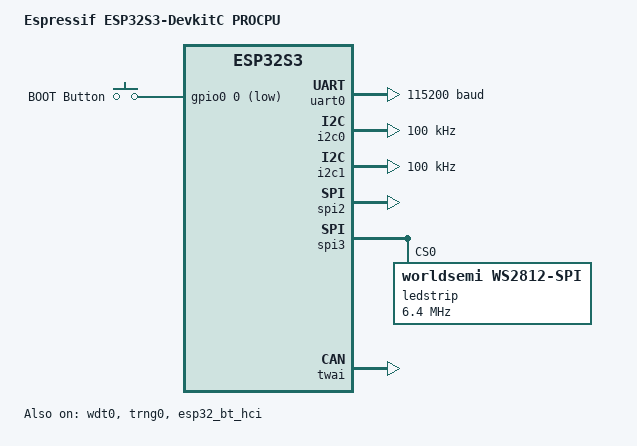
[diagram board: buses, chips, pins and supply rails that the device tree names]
/dts-v1/;

#include <espressif/esp32s3/esp32s3_wroom_n8.dtsi>
#include <zephyr/dt-bindings/input/input-event-codes.h>
#include <zephyr/dt-bindings/input/esp32-touch-sensor-input.h>
#include <espressif/partitions_0x0_amp.dtsi>
#include "esp32s3_can-pinctrl.dtsi"
#include <zephyr/dt-bindings/led/led.h>

/ {
	model = "Espressif ESP32S3-DevkitC PROCPU";
	compatible = "espressif,esp32s3";

	chosen {
		zephyr,sram = &sram1;
		zephyr,console = &uart0;
		zephyr,shell-uart = &uart0;
		zephyr,flash = &flash0;
		zephyr,code-partition = &slot0_partition;
		zephyr,bt-hci = &esp32_bt_hci;
		zephyr,canbus = &twai;
	};

	aliases {
		uart-0 = &uart0;
		sw0 = &button0;
		i2c-0 = &i2c0;
		watchdog0 = &wdt0;
		ledstrip = &ledstrip;
	};

	buttons {
		compatible = "gpio-keys";

		button0: button_0 {
			gpios = <&gpio0 0 (GPIO_PULL_UP | GPIO_ACTIVE_LOW)>;
			label = "BOOT Button";
			zephyr,code = <INPUT_KEY_0>;
		};
	};
};

&usb_serial {
	status = "disabled";
};

&uart0 {
	status = "okay";
	current-speed = <115200>;
	pinctrl-0 = <&uart0_default>;
	pinctrl-names = "default";
};

&gpio0 {
	status = "okay";
};

&gpio1 {
	status = "okay";
};

&touch {
	debounce-interval-ms = <30>;
	href-microvolt = <2700000>;
	lref-microvolt = <500000>;
	href-atten-microvolt = <1000000>;
	filter-mode = <ESP32_TOUCH_FILTER_MODE_IIR_16>;
	filter-debounce-cnt = <1>;
	filter-noise-thr = <ESP32_TOUCH_FILTER_NOISE_THR_4_8TH>;
	filter-jitter-step = <4>;
	filter-smooth-level = <ESP32_TOUCH_FILTER_SMOOTH_MODE_IIR_2>;
};

&i2c0 {
	clock-frequency = <I2C_BITRATE_STANDARD>;
	pinctrl-0 = <&i2c0_default>;
	pinctrl-names = "default";
};

&i2c1 {
	clock-frequency = <I2C_BITRATE_STANDARD>;
	pinctrl-0 = <&i2c1_default>;
	pinctrl-names = "default";
};

&i2s0 {
	pinctrl-0 = <&i2s0_default>;
	pinctrl-names = "default";
	status = "disabled";
};

&i2s1 {
	pinctrl-0 = <&i2s1_default>;
	pinctrl-names = "default";
	status = "disabled";
};

&spi2 {
	#address-cells = <1>;
	#size-cells = <0>;
	status = "okay";
	pinctrl-0 = <&spim2_default>;
	pinctrl-names = "default";
};

&spi3 {
	/* Workaround to support WS2812 driver */
	line-idle-low;
	#address-cells = <1>;
	#size-cells = <0>;
	status = "okay";
	pinctrl-0 = <&spim3_default>;
	pinctrl-names = "default";
	
	ledstrip:ws2812@0 {
		compatible = "worldsemi,ws2812-spi";

		/* SPI */
		reg = <0>; /* ignored, but necessary for SPI bindings */
		spi-max-frequency = <6400000>;

		/* WS2812 */
		chain-length = <1>; /* arbitrary; change at will */
		spi-cpha;
		spi-one-frame = <0xf0>; /* 11110000: 625 ns high and 625 ns low */
		spi-zero-frame = <0xc0>; /* 11000000: 312.5 ns high and 937.5 ns low */
		color-mapping = <2 1 3>;
		status = "okay"; 
	};

};

&twai {
	pinctrl-0 = <&twai_default>;
	pinctrl-names = "default";
	status = "okay";
};

&timer0 {
	status = "disabled";
};

&timer1 {
	status = "disabled";
};

&timer2 {
	status = "disabled";
};

&timer3 {
	status = "disabled";
};

&wdt0 {
	status = "okay";
};

&trng0 {
	status = "okay";
};

&esp32_bt_hci {
	status = "okay";
};

&wifi {
	status = "disabled";
};

zephyr_udc0: &usb_otg {
	status = "disabled";
};
